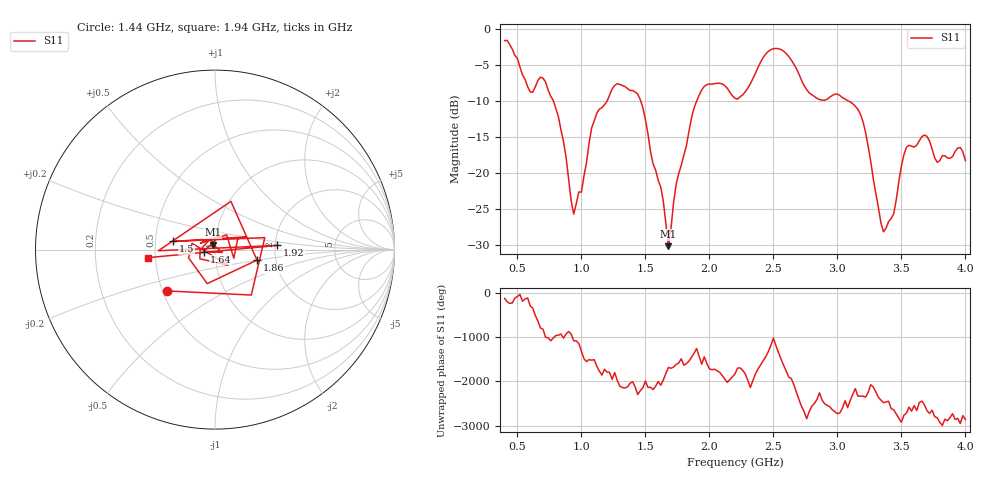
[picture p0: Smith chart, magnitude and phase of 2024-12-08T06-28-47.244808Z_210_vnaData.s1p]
!Created with skrf (http://scikit-rf.org).
# Hz S RI R 50.0
!freq ReS11 ImS11
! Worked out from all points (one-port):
!   181 points, 400 MHz to 4 GHz, reference 50 ohm
!   lowest |S11| = -30.2 dB at 1.68 GHz (marker M1), VSWR 1.06, Z = 48.7 + j2.74 ohm
!   |S11| at or under -10 dB: 781.9 MHz to 1.201 GHz (418.7 MHz wide, 42.2 % of centre); 1.464 GHz to 1.9 GHz (436.4 MHz wide, 25.9 % of centre); 3.088 GHz to end of sweep
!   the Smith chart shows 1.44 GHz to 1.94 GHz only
!   S11 on the Smith chart (normalised r, x): 1.44 GHz: 0.53, -0.28; 1.5 GHz: 0.62, +0.06; 1.64 GHz: 0.88, -0.02; 1.86 GHz: 1.60, -0.20; 1.92 GHz: 2.06, +0.11; 1.94 GHz: 0.45, -0.05
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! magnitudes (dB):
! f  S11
! 400 MHz  -1.6
! 600 MHz  -8.7
! 720 MHz  -7.3
! 860 MHz  -15.6
! 940 MHz  -25.7
! 1.12 GHz  -11.7
! 1.3 GHz  -7.7
! 1.44 GHz  -9.0
! 1.5 GHz  -12.5
! 1.64 GHz  -24.0
! 1.68 GHz  -30.2
! 1.76 GHz  -20.1
! 1.86 GHz  -12.4
! 1.92 GHz  -9.2
! 1.94 GHz  -8.4
! 2.2 GHz  -9.6
! 2.48 GHz  -2.8
! 2.66 GHz  -4.8
! 2.84 GHz  -9.6
! 3.1 GHz  -10.1
! 3.2 GHz  -12.9
! 3.36 GHz  -28.2
! 3.44 GHz  -25.7
! 3.52 GHz  -17.4
! 3.56 GHz  -16.2
! 3.68 GHz  -14.7
! 3.78 GHz  -18.5
! 4 GHz  -18.3
